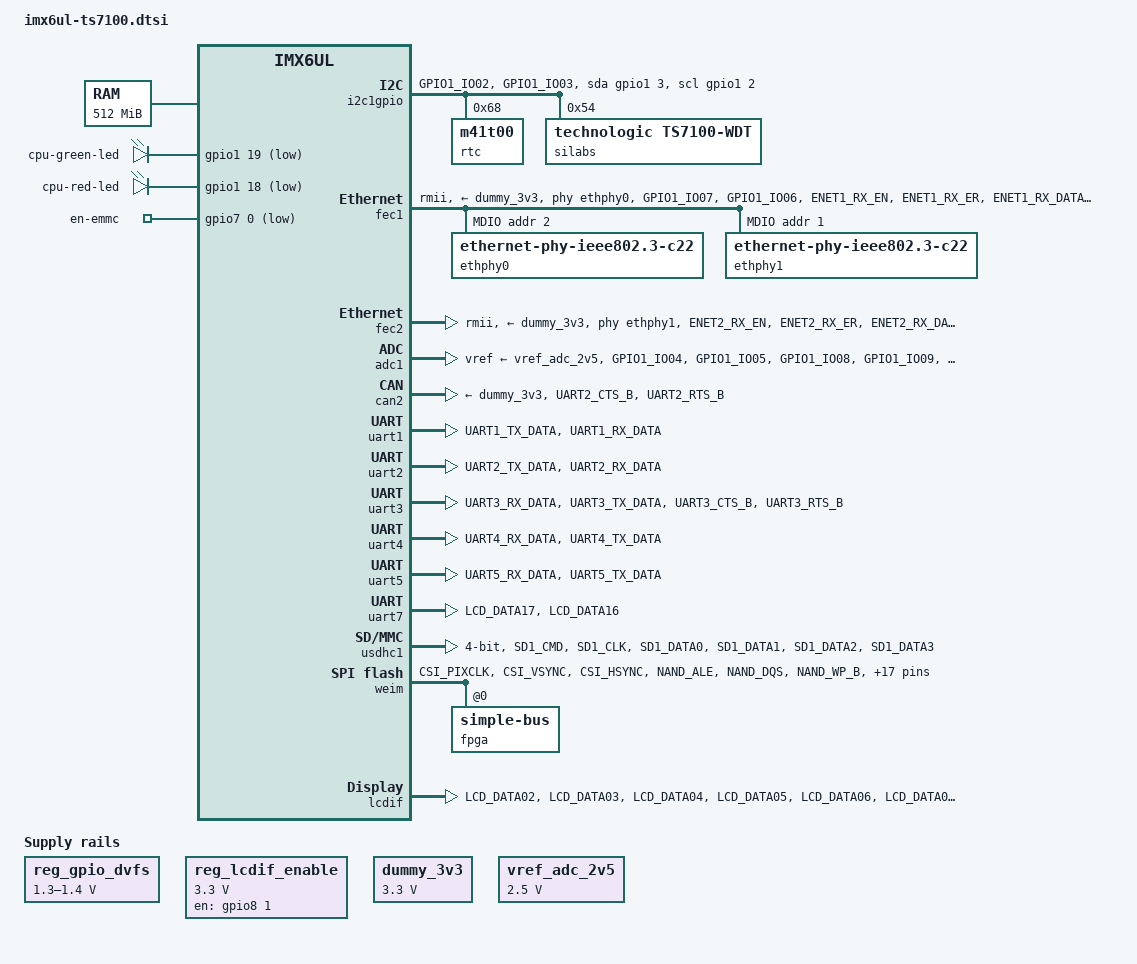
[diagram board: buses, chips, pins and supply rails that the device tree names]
/*
 * Copyright (C) 2019-2022 Technologic Systems, Inc. dba embeddedTS
 *
 * This program is free software; you can redistribute it and/or modify
 * it under the terms of the GNU General Public License version 2 as
 * published by the Free Software Foundation.
 */

#include <dt-bindings/input/input.h>
#include "imx6ul.dtsi"

/ {
	chosen {
		stdout-path = &uart1;
	};

	memory {
		/* 512 MB */
		reg = <0x80000000 0x20000000>;
	};

	leds {
		pinctrl-names = "default";
		pinctrl-0 = <&pinctrl_cpu_leds>;
		compatible = "gpio-leds";

		cpu-green-led {
			label = "cpu-green-led";
			gpios = <&gpio1 19 GPIO_ACTIVE_LOW>;
			default-state = "on";
		};

		cpu-red-led {
			label = "cpu-red-led";
			gpios = <&gpio1 18 GPIO_ACTIVE_LOW>;
			default-state = "off";
		};

		/* The following are meant to be userspace controlled IO. The
		 * kernel does not allow setting default state of GPIO, but
		 * the default state of LEDs can be set, which is why the LED
		 * subsystem is used.
		 */

		en-emmc {
			label = "en-emmc";
			gpios = <&gpio7 0 GPIO_ACTIVE_LOW>;
			default-state = "on";
		};
	};

	reserved-memory {
		#address-cells = <1>;
		#size-cells = <1>;
		ranges;

		linux,cma {
			compatible = "shared-dma-pool";
			reusable;
			size = <0x14000000>;
			linux,cma-default;
		};
	};

	aliases {
		ethernet0 = &fec1;
		ethernet2 = &fec2;
		i2c0 = &i2c1gpio;
	};

	pxp_v4l2 {
		compatible = "fsl,imx6ul-pxp-v4l2", "fsl,imx6sx-pxp-v4l2", "fsl,imx6sl-pxp-v4l2";
		status = "disabled";
	};

	regulators {
		compatible = "simple-bus";
		#address-cells = <1>;
		#size-cells = <0>;

		reg_gpio_dvfs: regulator-gpio {
			compatible = "regulator-gpio";
			pinctrl-names = "default";
			pinctrl-0 = <&pinctrl_dvfs>;
			regulator-min-microvolt = <1300000>;
			regulator-max-microvolt = <1400000>;
			regulator-name = "gpio_dvfs";
			regulator-type = "voltage";
			gpios = <&gpio5 3 GPIO_ACTIVE_HIGH>;
			states = <1300000 0x1 1400000 0x0>;
		};

		reg_lcdif_enable: en-lcdif@0 {
			compatible = "regulator-fixed";
			regulator-name = "en-lcdif";
			regulator-min-microvolt = <3300000>;
			regulator-max-microvolt = <3300000>;
			gpio = <&gpio8 1 GPIO_ACTIVE_HIGH>;
			enable-active-high;
			/* The mxsfb driver doesn't properly handle an
			 * EPROBE_DEFER from trying to get the gpio for power
			 * control. Because of this, just force the regulator
			 * on from the kernel as soon as it can be turned on.
			 */
			regulator-boot-on;
			regulator-always-on;
		};

		dummy_3v3: rev_3v3@0 {
			compatible = "regulator-fixed";
			regulator-name = "dummy-3v3";
			regulator-min-microvolt = <3300000>;
			regulator-max-microvolt = <3300000>;
			regulator-boot-on;
			regulator-always-on;
		};

		vref_adc_2v5: adc@0 {
			compatible = "regulator-fixed";
			regulator-name = "vref-adc";
			regulator-min-microvolt = <2500000>;
			regulator-max-microvolt = <2500000>;
			regulator-boot-on;
			regulator-always-on;
		};
	};

	i2c1gpio: i2c1gpio {
		compatible = "i2c-gpio";
		pinctrl-names = "default";
		pinctrl-0 = <&pinctrl_i2c1_gpio>;
		gpios = <&gpio1 3 GPIO_ACTIVE_HIGH>, /* sda */
			<&gpio1 2 GPIO_ACTIVE_HIGH>; /* scl */
		#address-cells = <1>;
		#size-cells = <0>;

		status = "okay";

		rtc: m41t00s@68 {
			compatible = "m41t00";
			reg = <0x68>;
		};

		silabs: silabs@54 {
			compatible = "technologic,ts7100-wdt";
			/* 5min timeout default, in case of slow userspace.
			 * Set to 0 to disable WDT at startup. Userspace procs
			 * can still start feeding later.
			 */
			timeout-sec = <300>;
			reg = <0x54>;
		};
	};
};

&cpu0 {
	arm-supply = <&reg_arm>;
	soc-supply = <&reg_soc>;
	dc-supply = <&reg_gpio_dvfs>;
};

&fec1 {
	pinctrl-names = "default";
	pinctrl-0 = <&pinctrl_enet1>;
	phy-mode = "rmii";
	phy-handle = <&ethphy0>;
	phy-supply = <&dummy_3v3>;
	/*
	phy-reset-gpios = <&gpio1 4 GPIO_ACTIVE_LOW>;
	phy-reset-duration = <10>;
	*/
	status = "okay";
	mdio {
		#address-cells = <1>;
		#size-cells = <0>;

		ethphy0: ethernet-phy@0 {
			clocks = <&clks IMX6UL_CLK_ENET_REF>;
			clock-names = "rmii-ref";
			compatible = "ethernet-phy-ieee802.3-c22";
			reg = <2>;
		};

		ethphy1: ethernet-phy@1 {
			clocks = <&clks IMX6UL_CLK_ENET_REF>;
			clock-names = "rmii-ref";
			compatible = "ethernet-phy-ieee802.3-c22";
			reg = <1>;
		};
	};
};

&fec2 {
	pinctrl-names = "default";
	pinctrl-0 = <&pinctrl_enet2>;
	phy-mode = "rmii";
	phy-handle = <&ethphy1>;
	phy-supply = <&dummy_3v3>;
	status = "okay";
};

&adc1 {
	pinctrl-names = "default";
	pinctrl-0 = <&pinctrl_adc1>;
	vref-supply = <&vref_adc_2v5>;
	status = "okay";
};

&can2 {
	pinctrl-names = "default";
	pinctrl-0 = <&pinctrl_flexcan2>;
	xceiver-supply = <&dummy_3v3>;
	status = "okay";
};

&gpc {
	fsl,cpu_pupscr_sw2iso = <0x1>;
	fsl,cpu_pupscr_sw = <0x0>;
	fsl,cpu_pdnscr_iso2sw = <0x1>;
	fsl,cpu_pdnscr_iso = <0x1>;
	fsl,ldo-bypass = <0>; /* DCDC, ldo-enable */
};

&uart1 {
	pinctrl-names = "default";
	pinctrl-0 = <&pinctrl_uart1>;
	status = "okay";
};

&uart2 {
	pinctrl-names = "default";
	pinctrl-0 = <&pinctrl_uart2>;
	status = "okay";
};

&uart3 { /* BT */
	pinctrl-names = "default";
	pinctrl-0 = <&pinctrl_uart3>;
	status = "okay";
	fsl,uart-has-rtscts;
};

&uart4 {
	pinctrl-names = "default";
	pinctrl-0 = <&pinctrl_uart4>;
	status = "okay";
};

&uart5 {
	pinctrl-names = "default";
	pinctrl-0 = <&pinctrl_uart5>;
	status = "okay";
};

&uart7 {
	pinctrl-names = "default";
	pinctrl-0 = <&pinctrl_uart7>;
	status = "okay";
};

&usdhc1 {
	pinctrl-names = "default";
	pinctrl-0 = <&pinctrl_usdhc1>;
	no-1-8-v;
	disable-wp;
	broken-cd = <1>;
	bus-width = <4>;
	status = "okay";
};

&snvs_rtc {
	status = "disabled";
};

&wdog1 {
       status = "disabled";
};

&weim {
	pinctrl-names = "default";
	pinctrl-0 = <&pinctrl_weim_fpga &pinctrl_weim_cs0>;
	#address-cells = <2>;
	#size-cells = <1>;
	clocks = <&clks IMX6UL_CLK_EIM>, <&clks IMX6UL_CLK_EIM_SLOW_SEL>;
	ranges = <0 0 0x50000000 0x08000000>;
	status = "okay";

	fpga: fpga@50000000 {
		compatible = "simple-bus";
		reg = <0 0x50000000 0x00010000>;
		#address-cells = <1>;
		#size-cells = <1>;
		ranges = <0 0 0 0x10000>;

		fsl,weim-cs-timing = <
			0x0161030F	// EIM_CSnGCR1 @ 0x021b8000
			0x00000000	// EIM_CSnGCR2 @ 0x021b8004
			0x03000000	// EIM_CSnRCR1 @ 0x021b8008
			0x00000000	// EIM_CSnRCR2 @ 0x021b800c
			0x01000000  // EIM_CSnWCR1 @ 0x021b8010
			0 				// EIM_CSnWCR2	@ 0x021b8014
		>;

		status = "okay";

		clocks {
			#address-cells = <1>;
			#size-cells = <1>;
			ranges;

			fpga_clk_weim_bclk: fpga_clk_weim_bclk {
				#clock-cells = <0>;
				compatible = "fixed-clock";
				clock-frequency = <49500000>;
			};
		};

		syscon: syscon@4000 {
			compatible = "simple-bus";
			#address-cells = <0x2>;
			#size-cells = <0x1>;
			reg = <0x4000 0x58>;
			ranges = <0 0 0x4000 0x58>;
			status = "okay";

			gpio6: fpga_gpio6@10 {
				compatible = "technologic,ts71xxweim-gpio";
				reg = <0 0x10 0x08>;
				gpio-controller;
				#gpio-cells = <2>;
				base = <160>;
				ngpios = <16>;
				interrupt-controller;
				#interrupt-cells = <1>;
				status = "okay";
			};

			gpio7: fpga_gpio7@40 {
				compatible = "technologic,ts71xxweim-gpio";
				reg = <0 0x40 0x08>;
				gpio-controller;
				#gpio-cells = <2>;
				base = <176>;
				ngpios = <16>;
				interrupt-controller;
				#interrupt-cells = <1>;
				status = "okay";
			};

			gpio8: fpga_gpio8@50 {
				compatible = "technologic,ts71xxweim-gpio";
				reg = <0 0x50 0x08>;
				gpio-controller;
				#gpio-cells = <2>;
				base = <192>;
				ngpios = <16>;
				interrupt-controller;
				#interrupt-cells = <1>;
				status = "okay";
			};

			fpga_intc: fpga_intc@0 {
				compatible = "technologic,ts71xxweim-intc";

				interrupt-controller;
				#interrupt-cells = <1>;
				reg = <0 0x00 0x50>;

				interrupt-parent = <&gpio5>;
				interrupts = <1 IRQ_TYPE_LEVEL_HIGH>;
				status = "okay";
			};
		};

		fpga_uart0: serial@0 {
			compatible = "ns16550a";
			device_type = "serial";
			current-speed = <115200>;
			reg-shift = <1>;
			reg-io-width = <1>;
			reg = <0 16>;
			clock-frequency = <1843200>;
			interrupt-parent = <&fpga_intc>;
			interrupts = <0>;
			status = "okay";
		};

		opencores_spi0: opencores_spi@0 {
			#address-cells = <1>;
			#size-cells = <0>;
			compatible = "opencores,spi-oc";
			reg = <0x100 32>;
			interrupt-parent = <&fpga_intc>;
			interrupts = <9>;
			clocks = <&fpga_clk_weim_bclk>;
			clock-names = "spi-oc-clk";
			opencores-spi,idx = <0>;
			opencores-spi,num-chipselects = <2>;
			status = "okay";

			spifram: spi@0 {
				compatible = "atmel,at25", "cypress,fm25l16b";
				reg = <0>;
				spi-max-frequency = <20000000>;
				size = <0x800>;
				address-width = <16>;
				pagesize = <64>;
			};

                        spisplash: spi@1 {
                                compatible = "sst,is25lq016b", "jedec,spi-nor";
                                reg = <1>;
				/* Can run faster, but FRAM is slower. Clock it
				 * down to prevent any issues with FRAM oper.
				 */
                                spi-max-frequency = <20000000>;
                        };
		};

		opencores_spi1: opencores_spi@1 {
			#address-cells = <1>;
			#size-cells = <0>;
			compatible = "opencores,spi-oc";
			reg = <0x120 32>;
			interrupt-parent = <&fpga_intc>;
			interrupts = <10>;
			clocks = <&fpga_clk_weim_bclk>;
			clock-names = "spi-oc-clk";
			opencores-spi,idx = <1>;
			opencores-spi,num-chipselects = <1>;
			status = "okay";

			/* Touch screen SPI interface */
			touch_spi: touch_spi@0 {
                                #address-cells = <1>;
                                #size-cells = <1>;
				reg = <0>;
				compatible = "ti,tsc2046";
				spi-max-frequency = <1000000>;
				interrupt-parent = <&fpga_intc>;
				interrupts = <16>;
				pendown-gpio = <&gpio8 0 GPIO_ACTIVE_HIGH>;
				vcc-supply = <&dummy_3v3>;
				status = "okay";

				ti,x-min = /bits/ 16 <310>;
				ti,x-max = /bits/ 16 <3760>;
				ti,y-min = /bits/ 16 <3810>;
				ti,y-max = /bits/ 16 <270>;
				ti,vref-mv = /bits/ 16 <3300>;
				ti,keep-vref-on;
				ti,settle-delay-usec = /bits/ 16 <5000>;
				ti,vref-delay-usecs = /bits/ 16 <0>;
				ti,x-plate-ohms = /bits/ 16 <292>;
				ti,y-plate-ohms = /bits/ 16 <584>;
				ti,pressure-min = /bits/ 16 <300>;
				linux,wakeup;
			};
		};
	 };
};

&lcdif {
	pinctrl-names = "default";
	pinctrl-0 = <&pinctrl_lcd_ctrl>;
	display = <&display0>;
	lcd-supply = <&reg_lcdif_enable>;
	status = "okay";

	display0: display0 {
		bits-per-pixel = <16>;
		bus-width = <24>;
		status = "okay";

		display-timings {
			native-mode = <&timing0>;

			timing0: timing0 {
				clock-frequency = <7000>;
				hactive = <240>;
				vactive = <320>;
				hfront-porch = <38>;
				hback-porch = <10>;
				hsync-len = <10>;
				vback-porch = <4>;
				vfront-porch = <8>;
				vsync-len = <4>;
				hsync-active = <0>;
				vsync-active = <0>;
				de-active = <1>;
				pixelclk-active = <1>;
			};
		};
	};
};

&iomuxc {
	pinctrl-names = "default";
	pinctrl-0 = <&ts7100_pinctrl_hog>;
	imx6ul-ts7100 {
		ts7100_pinctrl_hog: hoggrp {
			fsl,pins = <
				/* All GPIO should be 0x1b020 unless special
				 * 0x1b020 == Hyst., 100k PU, 50 mA drive
				 * 0x1a020 == no pull resistor
				 * 0x13020 == 100k PD
				 */

				/* NC */
				MX6UL_PAD_JTAG_TDO__GPIO1_IO12		0x1b020
				MX6UL_PAD_JTAG_TRST_B__GPIO1_IO15	0x1b020
				MX6UL_PAD_SNVS_TAMPER2__GPIO5_IO02	0x1b020
				MX6UL_PAD_SNVS_TAMPER6__GPIO5_IO06	0x1b020
				MX6UL_PAD_SNVS_TAMPER7__GPIO5_IO07	0x1b020
				MX6UL_PAD_SNVS_TAMPER8__GPIO5_IO08	0x1b020
				MX6UL_PAD_SNVS_TAMPER9__GPIO5_IO09	0x1b020

				/* POWER_FAIL */
				MX6UL_PAD_SNVS_TAMPER0__GPIO5_IO00	0x1b020
				/* FPGA IRQ */
				MX6UL_PAD_SNVS_TAMPER1__GPIO5_IO01	0x1b029
			>;
		};

		pinctrl_cpu_leds: cpuledgrp {
			fsl,pins = <
				/* Red LED */
				MX6UL_PAD_UART1_CTS_B__GPIO1_IO18	0x1b020
				/* Green LED */
				MX6UL_PAD_UART1_RTS_B__GPIO1_IO19	0x1b020
			>;
		};

		pinctrl_adc1: adc1grp{
			fsl,pins = <
				MX6UL_PAD_GPIO1_IO04__GPIO1_IO04	0x1a020
				MX6UL_PAD_GPIO1_IO05__GPIO1_IO05	0x1a020
				MX6UL_PAD_GPIO1_IO08__GPIO1_IO08	0x1a020
				MX6UL_PAD_GPIO1_IO09__GPIO1_IO09	0x1a020
				MX6UL_PAD_GPIO1_IO00__GPIO1_IO00	0x1a020
				MX6UL_PAD_GPIO1_IO01__GPIO1_IO01	0x1a020
			>;
		};

		pinctrl_flexcan2: flexcan2grp{
			fsl,pins = <
				MX6UL_PAD_UART2_CTS_B__FLEXCAN2_TX	0x1b020
				MX6UL_PAD_UART2_RTS_B__FLEXCAN2_RX	0x1b020
			>;
		};

		pinctrl_uart1: uart1grp {
			fsl,pins = <
				MX6UL_PAD_UART1_TX_DATA__UART1_DCE_TX	0x1b0b1
				MX6UL_PAD_UART1_RX_DATA__UART1_DCE_RX	0x1b0b1
			>;
		};

		pinctrl_uart2: uart2grp {
			fsl,pins = <
				MX6UL_PAD_UART2_TX_DATA__UART2_DCE_TX	0x1b0b1
				MX6UL_PAD_UART2_RX_DATA__UART2_DCE_RX	0x1b0b1
			>;
		};

		pinctrl_uart3: uart3grp {
			fsl,pins = <
				MX6UL_PAD_UART3_RX_DATA__UART3_DCE_RX	0x1b0b1
				MX6UL_PAD_UART3_TX_DATA__UART3_DCE_TX	0x1b0b1
				MX6UL_PAD_UART3_CTS_B__UART3_DCE_CTS	0x1b0b1
				MX6UL_PAD_UART3_RTS_B__UART3_DCE_RTS	0x1b0b1
			>;
		};

		pinctrl_uart4: uart4grp {
			fsl,pins = <
				MX6UL_PAD_UART4_RX_DATA__UART4_DCE_RX	0x1b0b1
				MX6UL_PAD_UART4_TX_DATA__UART4_DCE_TX	0x1b0b1
			>;
		};

		pinctrl_uart5: uart5grp {
			fsl,pins = <
				MX6UL_PAD_UART5_RX_DATA__UART5_DCE_RX	0x1b0b1
				MX6UL_PAD_UART5_TX_DATA__UART5_DCE_TX	0x1b0b1
			>;
		};

		/* Connected just to FPGA */
		pinctrl_uart7: uart7grp {
			fsl,pins = <
				MX6UL_PAD_LCD_DATA17__UART7_DCE_RX	0x1b0b1
				MX6UL_PAD_LCD_DATA16__UART7_DCE_TX	0x1b0b1
			>;
		};

		pinctrl_enet1: enet1grp {
			fsl,pins = <
				MX6UL_PAD_GPIO1_IO07__ENET1_MDC		0x1b0b0
				MX6UL_PAD_GPIO1_IO06__ENET1_MDIO	0x1b0b0
				MX6UL_PAD_ENET1_RX_EN__ENET1_RX_EN	0x1b0b0
				MX6UL_PAD_ENET1_RX_ER__ENET1_RX_ER	0x1b0b0
				MX6UL_PAD_ENET1_RX_DATA0__ENET1_RDATA00	0x1b0b0
				MX6UL_PAD_ENET1_RX_DATA1__ENET1_RDATA01	0x1b0b0
				MX6UL_PAD_ENET1_TX_EN__ENET1_TX_EN	0x1b0b0
				MX6UL_PAD_ENET1_TX_DATA0__ENET1_TDATA00	0x1b0b0
				MX6UL_PAD_ENET1_TX_DATA1__ENET1_TDATA01	0x1b0b0
				MX6UL_PAD_ENET1_TX_CLK__ENET1_REF_CLK1	0x4001b031
			>;
		};

		pinctrl_enet2: enet2grp {
			fsl,pins = <
				MX6UL_PAD_ENET2_RX_EN__ENET2_RX_EN	0x1b0b0
				MX6UL_PAD_ENET2_RX_ER__ENET2_RX_ER	0x1b0b0
				MX6UL_PAD_ENET2_RX_DATA0__ENET2_RDATA00	0x1b0b0
				MX6UL_PAD_ENET2_RX_DATA1__ENET2_RDATA01	0x1b0b0
				MX6UL_PAD_ENET2_TX_EN__ENET2_TX_EN	0x1b0b0
				MX6UL_PAD_ENET2_TX_DATA0__ENET2_TDATA00	0x1b0b0
				MX6UL_PAD_ENET2_TX_DATA1__ENET2_TDATA01	0x1b0b0
				MX6UL_PAD_ENET2_TX_CLK__ENET2_REF_CLK2	0x4001b031
			>;
		};

		pinctrl_i2c1: i2c1grp {
			fsl,pins = <
				MX6UL_PAD_GPIO1_IO02__I2C1_SCL        0x4001a8b0
				MX6UL_PAD_GPIO1_IO03__I2C1_SDA        0x4001a8b0
			>;
		};

		pinctrl_i2c1_gpio: i2c1grpgpio {
			fsl,pins = <
				MX6UL_PAD_GPIO1_IO02__GPIO1_IO02      0x4001a8b0
				MX6UL_PAD_GPIO1_IO03__GPIO1_IO03      0x4001a8b0
			>;
		};

		pinctrl_usdhc1: usdhc1grp {
			fsl,pins = <
				MX6UL_PAD_SD1_CMD__USDHC1_CMD		0x17059
				MX6UL_PAD_SD1_CLK__USDHC1_CLK		0x10071
				MX6UL_PAD_SD1_DATA0__USDHC1_DATA0	0x17059
				MX6UL_PAD_SD1_DATA1__USDHC1_DATA1	0x17059
				MX6UL_PAD_SD1_DATA2__USDHC1_DATA2	0x17059
				MX6UL_PAD_SD1_DATA3__USDHC1_DATA3	0x17059
			>;
		};

		pinctrl_dvfs: dvfsgrp {
			fsl,pins = <
				MX6UL_PAD_SNVS_TAMPER3__GPIO5_IO03  0x1b0a0
			>;
		};
		pinctrl_weim_cs0: weimcs0grp {
			fsl,pins = <
				/* EIM_CS0 */
				MX6UL_PAD_CSI_MCLK__GPIO4_IO17		0xb029
			//	MX6UL_PAD_CSI_MCLK__EIM_CS0_B		0xb029
			>;
		};

		pinctrl_weim_fpga: weimfpgagrp {
			fsl,pins = <
				/* EIM_OE# */
				MX6UL_PAD_CSI_PIXCLK__EIM_OE		0x1b029
				/* EIM_WE# */
				MX6UL_PAD_CSI_VSYNC__EIM_RW		0x1b029
				/* EIM_LBA# */
				MX6UL_PAD_CSI_HSYNC__EIM_LBA_B		0x1b029
				/* EIM_IRQ */
				MX6UL_PAD_NAND_ALE__GPIO4_IO10		0x1b029
				/* EIM_WAIT */
				MX6UL_PAD_NAND_DQS__EIM_WAIT		0x1b029
				/* EIM_BCLK */
				MX6UL_PAD_NAND_WP_B__EIM_BCLK		0x1b029

				/* EIM Address */
				MX6UL_PAD_NAND_DATA07__EIM_AD15		0x1b029
				MX6UL_PAD_NAND_DATA06__EIM_AD14		0x1b029
				MX6UL_PAD_NAND_DATA05__EIM_AD13		0x1b029
				MX6UL_PAD_NAND_DATA04__EIM_AD12		0x1b029
				MX6UL_PAD_NAND_DATA03__EIM_AD11		0x1b029
				MX6UL_PAD_NAND_DATA02__EIM_AD10		0x1b029
				MX6UL_PAD_NAND_DATA01__EIM_AD09		0x1b029
				MX6UL_PAD_NAND_DATA00__EIM_AD08		0x1b029
				MX6UL_PAD_CSI_DATA07__EIM_AD07		0x1b029
				MX6UL_PAD_CSI_DATA06__EIM_AD06		0x1b029
				MX6UL_PAD_CSI_DATA05__EIM_AD05		0x1b029
				MX6UL_PAD_CSI_DATA04__EIM_AD04		0x1b029
				MX6UL_PAD_CSI_DATA03__EIM_AD03		0x1b029
				MX6UL_PAD_CSI_DATA02__EIM_AD02		0x1b029
				MX6UL_PAD_CSI_DATA01__EIM_AD01 		0x1b029
				MX6UL_PAD_CSI_DATA00__EIM_AD00		0x1b029
			>;
		};

		pinctrl_lcd_ctrl: lcd_ctrl {
			fsl,pins = <
				/* All pins are: Hyst., 100k PU, Med. speed,
				 * High DSE, Fast SR.
				 */

				/* LCD DATA pins */
				MX6UL_PAD_LCD_DATA02__LCDIF_DATA02	0x1b0b9
				MX6UL_PAD_LCD_DATA03__LCDIF_DATA03	0x1b0b9
				MX6UL_PAD_LCD_DATA04__LCDIF_DATA04	0x1b0b9
				MX6UL_PAD_LCD_DATA05__LCDIF_DATA05	0x1b0b9
				MX6UL_PAD_LCD_DATA06__LCDIF_DATA06	0x1b0b9
				MX6UL_PAD_LCD_DATA07__LCDIF_DATA07	0x1b0b9
				MX6UL_PAD_LCD_DATA10__LCDIF_DATA10	0x1b0b9
				MX6UL_PAD_LCD_DATA11__LCDIF_DATA11	0x1b0b9
				MX6UL_PAD_LCD_DATA12__LCDIF_DATA12	0x1b0b9
				MX6UL_PAD_LCD_DATA13__LCDIF_DATA13	0x1b0b9
				MX6UL_PAD_LCD_DATA14__LCDIF_DATA14	0x1b0b9
				MX6UL_PAD_LCD_DATA15__LCDIF_DATA15	0x1b0b9
				MX6UL_PAD_LCD_DATA18__LCDIF_DATA18	0x1b0b9
				MX6UL_PAD_LCD_DATA19__LCDIF_DATA19	0x1b0b9
				MX6UL_PAD_LCD_DATA20__LCDIF_DATA20	0x1b0b9
				MX6UL_PAD_LCD_DATA21__LCDIF_DATA21	0x1b0b9
				MX6UL_PAD_LCD_DATA22__LCDIF_DATA22	0x1b0b9
				MX6UL_PAD_LCD_DATA23__LCDIF_DATA23	0x1b0b9

				MX6UL_PAD_LCD_CLK__LCDIF_CLK		0x1b0b9
				MX6UL_PAD_LCD_ENABLE__LCDIF_ENABLE	0x1b0b9
				MX6UL_PAD_LCD_HSYNC__LCDIF_HSYNC	0x1b0b9
				MX6UL_PAD_LCD_VSYNC__LCDIF_VSYNC	0x1b0b9
			>;
		};
	};
};
